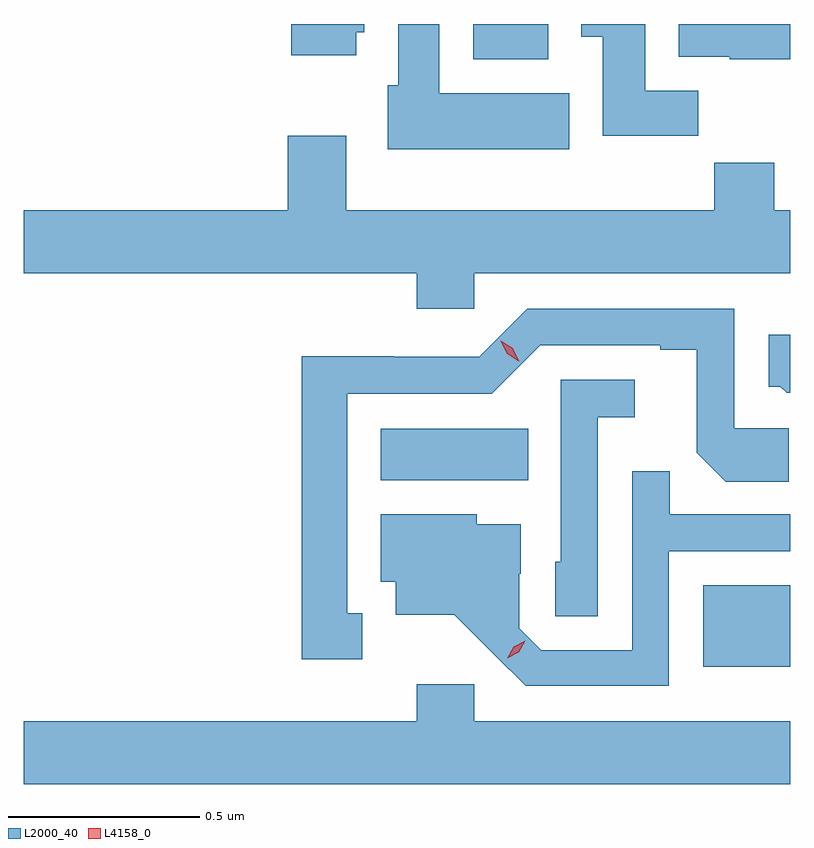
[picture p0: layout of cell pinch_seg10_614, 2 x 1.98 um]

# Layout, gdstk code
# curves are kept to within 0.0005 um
import gdstk
lib = gdstk.Library(unit=1e-6, precision=1e-09)
def R(c, l, rs):  # rectangles x0, y0, x1, y1
    for r in rs: c.add(gdstk.rectangle(r[:2], r[2:], *l))
def P(c, l, *ps):  # polygons
    for p in ps: c.add(gdstk.Polygon(p, *l))
L2000_40 = (2000, 40)
L4158_0 = (4158, 0)

pinch_seg10_614 = lib.new_cell('pinch_seg10_614')
R(pinch_seg10_614, L2000_40, [(323.582,1281.974,323.81,1282.186), (322.742,1282.46,323.126,1282.594), (322.983,1283.558,323.179,1283.65)])
P(pinch_seg10_614, L2000_40, [(322.678,1283.628),(322.699,1283.628),(322.699,1283.65),(322.508,1283.65),(322.508,1283.568),(322.678,1283.568)],
  [(323.81,1283.65),(323.519,1283.65),(323.519,1283.564),(323.652,1283.564),(323.652,1283.558),(323.81,1283.558)],
  [(323.233,1283.47),(322.894,1283.47),(322.894,1283.65),(322.787,1283.65),(322.787,1283.49),(322.76,1283.49),(322.76,1283.324),(323.233,1283.324)],
  [(323.57,1283.476),(323.431,1283.476),(323.431,1283.65),(323.264,1283.65),(323.264,1283.617),(323.321,1283.617),(323.321,1283.358),(323.57,1283.358)],
  [(322.986,1283),(323.81,1283),(323.81,1283.164),(323.768,1283.164),(323.768,1283.288),(323.611,1283.288),(323.611,1283.164),(322.651,1283.164),(322.651,1283.359),(322.499,1283.359),(322.499,1283.164),(321.81,1283.164),(321.81,1283),(322.835,1283),(322.835,1282.907),(322.986,1282.907)],
  [(322.693,1282.113),(322.654,1282.113),(322.654,1282.686),(323.031,1282.686),(323.157,1282.812),(323.471,1282.812),(323.471,1282.8),(323.565,1282.8),(323.565,1282.532),(323.641,1282.456),(323.806,1282.456),(323.806,1282.596),(323.664,1282.596),(323.664,1282.908),(323.124,1282.908),(322.998,1282.782),(322.776,1282.782),(322.776,1282.784),(322.536,1282.784),(322.536,1281.993),(322.693,1281.993)],
  [(323.81,1282.84),(323.753,1282.84),(323.753,1282.704),(323.784,1282.704),(323.8,1282.688),(323.81,1282.688)],
  [(323.307,1282.625),(323.404,1282.625),(323.404,1282.722),(323.211,1282.722),(323.211,1282.248),(323.196,1282.248),(323.196,1282.105),(323.307,1282.105)],
  [(323.493,1282.275),(323.81,1282.275),(323.81,1282.371),(323.495,1282.371),(323.495,1282.484),(323.397,1282.484),(323.397,1282.017),(323.16,1282.017),(323.103,1282.074),(323.103,1282.216),(323.107,1282.216),(323.107,1282.345),(322.992,1282.345),(322.992,1282.372),(322.742,1282.372),(322.742,1282.196),(322.781,1282.196),(322.781,1282.109),(322.933,1282.109),(323.12,1281.924),(323.493,1281.924)],
  [(323.81,1281.832),(322.986,1281.832),(322.986,1281.928),(322.835,1281.928),(322.835,1281.832),(321.81,1281.832),(321.81,1281.668),(323.81,1281.668)])
P(pinch_seg10_614, L4158_0, [(323.071,1281.996),(323.071,1281.996),(323.088,1282.026),(323.118,1282.042),(323.119,1282.042),(323.119,1282.042),(323.102,1282.012),(323.071,1281.996)],
  [(323.102,1282.771),(323.071,1282.79),(323.054,1282.823),(323.054,1282.824),(323.054,1282.824),(323.086,1282.804),(323.103,1282.771),(323.103,1282.771)])

lib.write_gds('pinch_seg10_614.gds')
